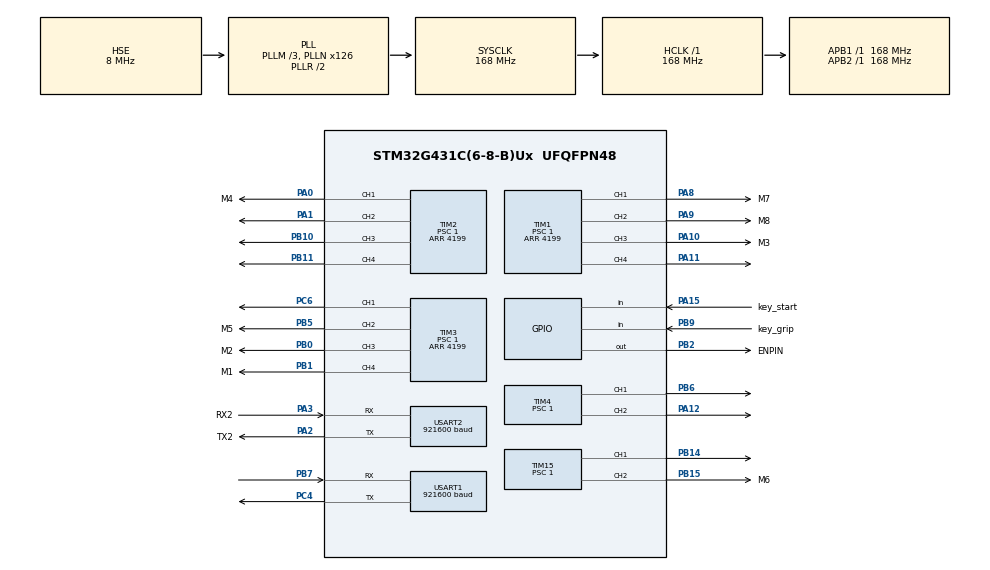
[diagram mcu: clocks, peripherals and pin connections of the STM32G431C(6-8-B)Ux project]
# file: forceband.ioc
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Dma.Request0=USART1_RX
Dma.Request1=USART1_TX
Dma.Request2=USART2_RX
Dma.USART1_RX.0.Direction=DMA_PERIPH_TO_MEMORY
Dma.USART1_RX.0.EventEnable=DISABLE
Dma.USART1_RX.0.Instance=DMA1_Channel1
Dma.USART1_RX.0.MemDataAlignment=DMA_MDATAALIGN_BYTE
Dma.USART1_RX.0.MemInc=DMA_MINC_ENABLE
Dma.USART1_RX.0.Mode=DMA_NORMAL
Dma.USART1_RX.0.PeriphDataAlignment=DMA_PDATAALIGN_BYTE
Dma.USART1_RX.0.PeriphInc=DMA_PINC_DISABLE
Dma.USART1_RX.0.Polarity=HAL_DMAMUX_REQ_GEN_RISING
Dma.USART1_RX.0.Priority=DMA_PRIORITY_LOW
Dma.USART1_RX.0.RequestNumber=1
Dma.USART1_RX.0.SignalID=NONE
Dma.USART1_RX.0.SyncEnable=DISABLE
Dma.USART1_RX.0.SyncPolarity=HAL_DMAMUX_SYNC_NO_EVENT
Dma.USART1_RX.0.SyncRequestNumber=1
Dma.USART1_RX.0.SyncSignalID=NONE
Dma.USART1_TX.1.Direction=DMA_MEMORY_TO_PERIPH
Dma.USART1_TX.1.EventEnable=DISABLE
Dma.USART1_TX.1.Instance=DMA1_Channel3
Dma.USART1_TX.1.MemDataAlignment=DMA_MDATAALIGN_BYTE
Dma.USART1_TX.1.MemInc=DMA_MINC_ENABLE
Dma.USART1_TX.1.Mode=DMA_NORMAL
Dma.USART1_TX.1.PeriphDataAlignment=DMA_PDATAALIGN_BYTE
Dma.USART1_TX.1.PeriphInc=DMA_PINC_DISABLE
Dma.USART1_TX.1.Polarity=HAL_DMAMUX_REQ_GEN_RISING
Dma.USART1_TX.1.Priority=DMA_PRIORITY_LOW
Dma.USART1_TX.1.RequestNumber=1
Dma.USART1_TX.1.SignalID=NONE
Dma.USART1_TX.1.SyncEnable=DISABLE
Dma.USART1_TX.1.SyncPolarity=HAL_DMAMUX_SYNC_NO_EVENT
Dma.USART1_TX.1.SyncRequestNumber=1
Dma.USART1_TX.1.SyncSignalID=NONE
Dma.USART2_RX.2.Direction=DMA_PERIPH_TO_MEMORY
Dma.USART2_RX.2.EventEnable=DISABLE
Dma.USART2_RX.2.Instance=DMA1_Channel2
Dma.USART2_RX.2.MemDataAlignment=DMA_MDATAALIGN_BYTE
Dma.USART2_RX.2.MemInc=DMA_MINC_ENABLE
Dma.USART2_RX.2.Mode=DMA_NORMAL
Dma.USART2_RX.2.PeriphDataAlignment=DMA_PDATAALIGN_BYTE
Dma.USART2_RX.2.PeriphInc=DMA_PINC_DISABLE
Dma.USART2_RX.2.Polarity=HAL_DMAMUX_REQ_GEN_RISING
Dma.USART2_RX.2.Priority=DMA_PRIORITY_LOW
Dma.USART2_RX.2.RequestNumber=1
Dma.USART2_RX.2.SignalID=NONE
Dma.USART2_RX.2.SyncEnable=DISABLE
Dma.USART2_RX.2.SyncPolarity=HAL_DMAMUX_SYNC_NO_EVENT
Dma.USART2_RX.2.SyncRequestNumber=1
Dma.USART2_RX.2.SyncSignalID=NONE
FREERTOS.INCLUDE_vTaskDelayUntil=1
FREERTOS.Tasks01=defaultTask,0,128,StartDefaultTask,Default,NULL,Dynamic,NULL,NULL
Mcu.Family=STM32G4
Mcu.Name=STM32G431C(6-8-B)Ux
Mcu.Package=UFQFPN48
NVIC.DMA1_Channel1_IRQn=true\:5\:0\:false\:false\:true\:true\:false\:true\:true
NVIC.DMA1_Channel2_IRQn=true\:5\:0\:false\:false\:true\:true\:false\:true\:true
NVIC.DMA1_Channel3_IRQn=true\:5\:0\:false\:false\:true\:true\:false\:true\:true
NVIC.PriorityGroup=NVIC_PRIORITYGROUP_4
NVIC.TIM7_IRQn=true\:15\:0\:false\:false\:true\:false\:false\:true\:true
NVIC.TimeBase=TIM7_IRQn
NVIC.TimeBaseIP=TIM7
NVIC.USART1_IRQn=true\:5\:0\:false\:false\:true\:true\:true\:true\:true
NVIC.USART2_IRQn=true\:5\:0\:true\:false\:true\:true\:true\:true\:true
PA0.GPIO_Label=M4
PA0.Signal=S_TIM2_CH1
PA1.Signal=S_TIM2_CH2
PA10.GPIO_Label=M3
PA10.Signal=S_TIM1_CH3
PA11.Signal=S_TIM1_CH4
PA12.Signal=S_TIM4_CH2
PA13.Mode=Serial_Wire
PA13.Signal=SYS_JTMS-SWDIO
PA14.Mode=Serial_Wire
PA14.Signal=SYS_JTCK-SWCLK
PA15.GPIO_Label=key_start
PA15.GPIO_PuPd=GPIO_PULLUP
PA15.Signal=GPIO_Input
PA2.GPIO_Label=TX2
PA2.GPIO_ModeDefaultPP=GPIO_MODE_AF_PP
PA2.Mode=Asynchronous
PA2.Signal=USART2_TX
PA3.GPIO_Label=RX2
PA3.GPIO_ModeDefaultPP=GPIO_MODE_AF_PP
PA3.Mode=Asynchronous
PA3.Signal=USART2_RX
PA8.GPIO_Label=M7
PA8.Signal=S_TIM1_CH1
PA9.GPIO_Label=M8
PA9.Signal=S_TIM1_CH2
PB0.GPIO_Label=M2
PB0.Signal=S_TIM3_CH3
PB1.GPIO_Label=M1
PB1.Signal=S_TIM3_CH4
PB10.Signal=S_TIM2_CH3
PB11.Signal=S_TIM2_CH4
PB14.Signal=S_TIM15_CH1
PB15.GPIO_Label=M6
PB15.Signal=S_TIM15_CH2
PB2.GPIO_Label=ENPIN
PB2.PinState=GPIO_PIN_SET
PB2.Signal=GPIO_Output
PB5.GPIO_Label=M5
PB5.Signal=S_TIM3_CH2
PB6.Signal=S_TIM4_CH1
PB7.Mode=Asynchronous
PB7.Signal=USART1_RX
PB9.GPIO_Label=key_grip
PB9.GPIO_PuPd=GPIO_PULLUP
PB9.Signal=GPIO_Input
PC4.Mode=Asynchronous
PC4.Signal=USART1_TX
PC6.Signal=S_TIM3_CH1
PF0-OSC_IN.Mode=HSE-External-Oscillator
PF0-OSC_IN.Signal=RCC_OSC_IN
PF1-OSC_OUT.Mode=HSE-External-Oscillator
PF1-OSC_OUT.Signal=RCC_OSC_OUT
ProjectManager.HeapSize=0x200
ProjectManager.StackSize=0x400
ProjectManager.TargetToolchain=MDK-ARM V5.27
RCC.ADC12Freq_Value=168000000
RCC.AHBFreq_Value=168000000
RCC.APB1Freq_Value=168000000
RCC.APB1TimFreq_Value=168000000
RCC.APB2Freq_Value=168000000
RCC.APB2TimFreq_Value=168000000
RCC.CortexFreq_Value=168000000
RCC.EXTERNAL_CLOCK_VALUE=12288000
RCC.HCLKFreq_Value=168000000
RCC.HSE_VALUE=8000000
RCC.HSI48_VALUE=48000000
RCC.HSI_VALUE=16000000
RCC.LSE_VALUE=32768
RCC.PLLM=RCC_PLLM_DIV3
RCC.PLLN=126
RCC.PLLSourceVirtual=RCC_PLLSOURCE_HSE
RCC.SYSCLKFreq_VALUE=168000000
RCC.SYSCLKSource=RCC_SYSCLKSOURCE_PLLCLK
RCC.USBFreq_Value=168000000
RCC.VCOOutputFreq_Value=336000000
SH.S_TIM15_CH1.0=TIM15_CH1,PWM Generation1 CH1
SH.S_TIM15_CH2.0=TIM15_CH2,PWM Generation2 CH2
SH.S_TIM1_CH1.0=TIM1_CH1,PWM Generation1 CH1
SH.S_TIM1_CH2.0=TIM1_CH2,PWM Generation2 CH2
SH.S_TIM1_CH3.0=TIM1_CH3,PWM Generation3 CH3
SH.S_TIM1_CH4.0=TIM1_CH4,PWM Generation4 CH4
SH.S_TIM2_CH1.0=TIM2_CH1,PWM Generation1 CH1
SH.S_TIM2_CH2.0=TIM2_CH2,PWM Generation2 CH2
SH.S_TIM2_CH3.0=TIM2_CH3,PWM Generation3 CH3
SH.S_TIM2_CH4.0=TIM2_CH4,PWM Generation4 CH4
SH.S_TIM3_CH1.0=TIM3_CH1,PWM Generation1 CH1
SH.S_TIM3_CH2.0=TIM3_CH2,PWM Generation2 CH2
SH.S_TIM3_CH3.0=TIM3_CH3,PWM Generation3 CH3
SH.S_TIM3_CH4.0=TIM3_CH4,PWM Generation4 CH4
SH.S_TIM4_CH1.0=TIM4_CH1,PWM Generation1 CH1
SH.S_TIM4_CH2.0=TIM4_CH2,PWM Generation2 CH2
TIM1.Channel-PWM\ Generation1\ CH1=TIM_CHANNEL_1
TIM1.Channel-PWM\ Generation2\ CH2=TIM_CHANNEL_2
TIM1.Channel-PWM\ Generation3\ CH3=TIM_CHANNEL_3
TIM1.Channel-PWM\ Generation4\ CH4=TIM_CHANNEL_4
TIM1.PeriodNoDither=4199
TIM1.Prescaler=1
TIM15.Channel-PWM\ Generation1\ CH1=TIM_CHANNEL_1
TIM15.Channel-PWM\ Generation2\ CH2=TIM_CHANNEL_2
TIM15.PeriodNoDither=4199
TIM15.Prescaler=1
TIM2.Channel-PWM\ Generation1\ CH1=TIM_CHANNEL_1
TIM2.Channel-PWM\ Generation2\ CH2=TIM_CHANNEL_2
TIM2.Channel-PWM\ Generation3\ CH3=TIM_CHANNEL_3
TIM2.Channel-PWM\ Generation4\ CH4=TIM_CHANNEL_4
TIM2.PeriodNoDither=4199
TIM2.Prescaler=1
TIM3.Channel-PWM\ Generation1\ CH1=TIM_CHANNEL_1
TIM3.Channel-PWM\ Generation2\ CH2=TIM_CHANNEL_2
TIM3.Channel-PWM\ Generation3\ CH3=TIM_CHANNEL_3
TIM3.Channel-PWM\ Generation4\ CH4=TIM_CHANNEL_4
TIM3.PeriodNoDither=4199
TIM3.Prescaler=1
TIM4.Channel-PWM\ Generation1\ CH1=TIM_CHANNEL_1
TIM4.Channel-PWM\ Generation2\ CH2=TIM_CHANNEL_2
TIM4.PeriodNoDither=4199
TIM4.Prescaler=1
USART1.BaudRate=921600
USART1.VirtualMode-Asynchronous=VM_ASYNC
USART2.BaudRate=921600
USART2.FIFOMode=FIFOMODE_DISABLE
USART2.VirtualMode-Asynchronous=VM_ASYNC
VP_FREERTOS_VS_CMSIS_V1.Mode=CMSIS_V1
VP_SYS_VS_DBSignals.Mode=DisableDeadBatterySignals
VP_SYS_VS_tim7.Mode=TIM7
board=custom

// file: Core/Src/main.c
/* USER CODE BEGIN Header */
/**
  ******************************************************************************
  * @file           : main.c
  * @brief          : Main program body
  ******************************************************************************
  * @attention
  *
  * Copyright (c) 2023 STMicroelectronics.
  * All rights reserved.
  *
  * This software is licensed under terms that can be found in the LICENSE file
  * in the root directory of this software component.
  * If no LICENSE file comes with this software, it is provided AS-IS.
  *
  ******************************************************************************
  */
/* USER CODE END Header */
#include "main.h"
#include "cmsis_os.h"
#include "dma.h"
#include "tim.h"
#include "usart.h"
#include "gpio.h"

void SystemClock_Config(void);
void MX_FREERTOS_Init(void);

int main(void)
{

  /* MCU Configuration--------------------------------------------------------*/

  /* Reset of all peripherals, Initializes the Flash interface and the Systick. */
  HAL_Init();

  /* USER CODE BEGIN Init */
// 2200-2700  2700-3100 3100-4000

  /* USER CODE END Init */

  /* Configure the system clock */
  SystemClock_Config();

  /* Initialize all configured peripherals */
  MX_GPIO_Init();
  MX_DMA_Init();
  MX_TIM1_Init();
  MX_TIM2_Init();
  MX_TIM3_Init();
  MX_TIM15_Init();
  MX_USART2_UART_Init();
  MX_USART1_UART_Init();
  MX_TIM4_Init();

  /* Call init function for freertos objects (in freertos.c) */
  MX_FREERTOS_Init();

  /* Start scheduler */
  osKernelStart();

  /* We should never get here as control is now taken by the scheduler */
  /* Infinite loop */
  while (1)
  {

  }
}

void SystemClock_Config(void)
{
  RCC_OscInitTypeDef RCC_OscInitStruct = {0};
  RCC_ClkInitTypeDef RCC_ClkInitStruct = {0};

  /** Configure the main internal regulator output voltage
  */
  HAL_PWREx_ControlVoltageScaling(PWR_REGULATOR_VOLTAGE_SCALE1_BOOST);

  /** Initializes the RCC Oscillators according to the specified parameters
  * in the RCC_OscInitTypeDef structure.
  */
  RCC_OscInitStruct.OscillatorType = RCC_OSCILLATORTYPE_HSE;
  RCC_OscInitStruct.HSEState = RCC_HSE_ON;
  RCC_OscInitStruct.PLL.PLLState = RCC_PLL_ON;
  RCC_OscInitStruct.PLL.PLLSource = RCC_PLLSOURCE_HSE;
  RCC_OscInitStruct.PLL.PLLM = RCC_PLLM_DIV3;
  RCC_OscInitStruct.PLL.PLLN = 126;
  RCC_OscInitStruct.PLL.PLLP = RCC_PLLP_DIV2;
  RCC_OscInitStruct.PLL.PLLQ = RCC_PLLQ_DIV2;
  RCC_OscInitStruct.PLL.PLLR = RCC_PLLR_DIV2;
  if (HAL_RCC_OscConfig(&RCC_OscInitStruct) != HAL_OK)
  {
    Error_Handler();
  }

  /** Initializes the CPU, AHB and APB buses clocks
  */
  RCC_ClkInitStruct.ClockType = RCC_CLOCKTYPE_HCLK|RCC_CLOCKTYPE_SYSCLK
                              |RCC_CLOCKTYPE_PCLK1|RCC_CLOCKTYPE_PCLK2;
  RCC_ClkInitStruct.SYSCLKSource = RCC_SYSCLKSOURCE_PLLCLK;
  RCC_ClkInitStruct.AHBCLKDivider = RCC_SYSCLK_DIV1;
  RCC_ClkInitStruct.APB1CLKDivider = RCC_HCLK_DIV1;
  RCC_ClkInitStruct.APB2CLKDivider = RCC_HCLK_DIV1;

  if (HAL_RCC_ClockConfig(&RCC_ClkInitStruct, FLASH_LATENCY_4) != HAL_OK)
  {
    Error_Handler();
  }
}

/* USER CODE BEGIN 4 */
uint16_t mapFloatToUInt16(float input) {
    if (input < 0.0f) {
        return 2000;
    } else if (input > 10.0f) {
        return 4199;
    }
    return (uint16_t)(((uint32_t)input * (4199.0f - 2000.0f) / 10.0f) + 2000.0f);
}
void cal_pulse_interpolated(int force, int theta){
	//1- get theta
	//2- classify
	//3- calpulse
	if(0<= theta && theta < 45)
		pulse_1(force, theta);
	else if(45<= theta && theta < 90)
		pulse_2(force, theta);
	else if(90<= theta && theta < 135)
		pulse_3(force, theta);
	else if(135<= theta && theta < 180)
		pulse_4(force, theta);
	else if(180<= theta && theta < 225)
		pulse_5(force, theta);
	else if(225<= theta && theta < 270)
		pulse_6(force, theta);
	else if(270<= theta && theta < 315)
		pulse_7(force, theta);
	else // 315< theta < 360
		pulse_8(force, theta);
}
void pulse_1(int force, int theta){
//	__HAL_TIM_SET_COMPARE(&htim3, TIM_CHANNEL_4, 0);//1
//	__HAL_TIM_SET_COMPARE(&htim3, TIM_CHANNEL_3, 0);//2
	__HAL_TIM_SET_COMPARE(&htim1, TIM_CHANNEL_3, 0);//3
	__HAL_TIM_SET_COMPARE(&htim2, TIM_CHANNEL_1, 0);//4
	__HAL_TIM_SET_COMPARE(&htim3, TIM_CHANNEL_2, 0);//5
	__HAL_TIM_SET_COMPARE(&htim15, TIM_CHANNEL_2, 0);//6
	__HAL_TIM_SET_COMPARE(&htim1, TIM_CHANNEL_1, 0);//7
	__HAL_TIM_SET_COMPARE(&htim1, TIM_CHANNEL_2, 0);//8

	uint16_t _compare_1;
	uint16_t _compare_2;
	float f_diag = (float)force * sin(ang2rad(theta)) / 0.707;
	float f_orth = (float)force * cos(ang2rad(theta)) - f_diag * 0.707;
	_compare_1 = mapFloatToUInt16(f_diag);
	_compare_2 = mapFloatToUInt16(f_orth);
	__HAL_TIM_SET_COMPARE(&htim3, TIM_CHANNEL_4, _compare_2);//1
	__HAL_TIM_SET_COMPARE(&htim3, TIM_CHANNEL_3, _compare_1);//2
}
void pulse_2(int force, int theta){
	__HAL_TIM_SET_COMPARE(&htim3, TIM_CHANNEL_4, 0);//1
//	__HAL_TIM_SET_COMPARE(&htim3, TIM_CHANNEL_3, 0);//2
//	__HAL_TIM_SET_COMPARE(&htim1, TIM_CHANNEL_3, 0);//3
	__HAL_TIM_SET_COMPARE(&htim2, TIM_CHANNEL_1, 0);//4
	__HAL_TIM_SET_COMPARE(&htim3, TIM_CHANNEL_2, 0);//5
	__HAL_TIM_SET_COMPARE(&htim15, TIM_CHANNEL_2, 0);//6
	__HAL_TIM_SET_COMPARE(&htim1, TIM_CHANNEL_1, 0);//7
	__HAL_TIM_SET_COMPARE(&htim1, TIM_CHANNEL_2, 0);//8

	uint16_t _compare_1;
	uint16_t _compare_2;
	float f_diag = (float)force * cos(ang2rad(theta)) / 0.707;
	float f_orth = (float)force * sin(ang2rad(theta)) - f_diag * 0.707;
	_compare_1 = mapFloatToUInt16(f_diag);
	_compare_2 = mapFloatToUInt16(f_orth);
	__HAL_TIM_SET_COMPARE(&htim3, TIM_CHANNEL_3, _compare_1);//2
	__HAL_TIM_SET_COMPARE(&htim1, TIM_CHANNEL_3, _compare_2);//3
}
void pulse_3(int force, int theta){
	__HAL_TIM_SET_COMPARE(&htim3, TIM_CHANNEL_4, 0);//1
	__HAL_TIM_SET_COMPARE(&htim3, TIM_CHANNEL_3, 0);//2
//	__HAL_TIM_SET_COMPARE(&htim1, TIM_CHANNEL_3, 0);//3
//	__HAL_TIM_SET_COMPARE(&htim2, TIM_CHANNEL_1, 0);//4
	__HAL_TIM_SET_COMPARE(&htim3, TIM_CHANNEL_2, 0);//5
	__HAL_TIM_SET_COMPARE(&htim15, TIM_CHANNEL_2, 0);//6
	__HAL_TIM_SET_COMPARE(&htim1, TIM_CHANNEL_1, 0);//7
	__HAL_TIM_SET_COMPARE(&htim1, TIM_CHANNEL_2, 0);//8

	uint16_t _compare_1;
	uint16_t _compare_2;
	float f_diag = -(float)force * cos(ang2rad(theta)) / 0.707;
	float f_orth = (float)force * sin(ang2rad(theta)) - f_diag * 0.707;
	_compare_1 = mapFloatToUInt16(f_diag);
	_compare_2 = mapFloatToUInt16(f_orth);
	__HAL_TIM_SET_COMPARE(&htim1, TIM_CHANNEL_3, _compare_1);//3
	__HAL_TIM_SET_COMPARE(&htim2, TIM_CHANNEL_1, _compare_2);//4
}
void pulse_4(int force, int theta){
	__HAL_TIM_SET_COMPARE(&htim3, TIM_CHANNEL_4, 0);//1
	__HAL_TIM_SET_COMPARE(&htim3, TIM_CHANNEL_3, 0);//2
	__HAL_TIM_SET_COMPARE(&htim1, TIM_CHANNEL_3, 0);//3
//	__HAL_TIM_SET_COMPARE(&htim2, TIM_CHANNEL_1, 0);//4
//	__HAL_TIM_SET_COMPARE(&htim3, TIM_CHANNEL_2, 0);//5
	__HAL_TIM_SET_COMPARE(&htim15, TIM_CHANNEL_2, 0);//6
	__HAL_TIM_SET_COMPARE(&htim1, TIM_CHANNEL_1, 0);//7
	__HAL_TIM_SET_COMPARE(&htim1, TIM_CHANNEL_2, 0);//8

	uint16_t _compare_1;
	uint16_t _compare_2;
	float f_diag = (float)force * sin(ang2rad(theta)) / 0.707;
	float f_orth = -(float)force * cos(ang2rad(theta)) - f_diag * 0.707;
	_compare_1 = mapFloatToUInt16(f_diag);
	_compare_2 = mapFloatToUInt16(f_orth);
	__HAL_TIM_SET_COMPARE(&htim2, TIM_CHANNEL_1, _compare_1);//4
	__HAL_TIM_SET_COMPARE(&htim3, TIM_CHANNEL_2, _compare_2);//5
}
void pulse_5(int force, int theta){
	__HAL_TIM_SET_COMPARE(&htim3, TIM_CHANNEL_4, 0);//1
	__HAL_TIM_SET_COMPARE(&htim3, TIM_CHANNEL_3, 0);//2
	__HAL_TIM_SET_COMPARE(&htim1, TIM_CHANNEL_3, 0);//3
	__HAL_TIM_SET_COMPARE(&htim2, TIM_CHANNEL_1, 0);//4
//	__HAL_TIM_SET_COMPARE(&htim3, TIM_CHANNEL_2, 0);//5
//	__HAL_TIM_SET_COMPARE(&htim15, TIM_CHANNEL_2, 0);//6
	__HAL_TIM_SET_COMPARE(&htim1, TIM_CHANNEL_1, 0);//7
	__HAL_TIM_SET_COMPARE(&htim1, TIM_CHANNEL_2, 0);//8

	uint16_t _compare_1;
	uint16_t _compare_2;
	float f_diag = -(float)force * sin(ang2rad(theta)) / 0.707;
	float f_orth = -(float)force * cos(ang2rad(theta)) - f_diag * 0.707;
	_compare_1 = mapFloatToUInt16(f_diag);
	_compare_2 = mapFloatToUInt16(f_orth);
	__HAL_TIM_SET_COMPARE(&htim3, TIM_CHANNEL_2, _compare_1);//5
	__HAL_TIM_SET_COMPARE(&htim15, TIM_CHANNEL_2, _compare_2);//6
}
void pulse_6(int force, int theta){
	__HAL_TIM_SET_COMPARE(&htim3, TIM_CHANNEL_4, 0);//1
	__HAL_TIM_SET_COMPARE(&htim3, TIM_CHANNEL_3, 0);//2
	__HAL_TIM_SET_COMPARE(&htim1, TIM_CHANNEL_3, 0);//3
	__HAL_TIM_SET_COMPARE(&htim2, TIM_CHANNEL_1, 0);//4
	__HAL_TIM_SET_COMPARE(&htim3, TIM_CHANNEL_2, 0);//5
//	__HAL_TIM_SET_COMPARE(&htim15, TIM_CHANNEL_2, 0);//6
//	__HAL_TIM_SET_COMPARE(&htim1, TIM_CHANNEL_1, 0);//7
	__HAL_TIM_SET_COMPARE(&htim1, TIM_CHANNEL_2, 0);//8

	uint16_t _compare_1;
	uint16_t _compare_2;
	float f_diag = -(float)force * cos(ang2rad(theta)) / 0.707;
	float f_orth = -(float)force * sin(ang2rad(theta)) - f_diag * 0.707;
	_compare_1 = mapFloatToUInt16(f_diag);
	_compare_2 = mapFloatToUInt16(f_orth);
	__HAL_TIM_SET_COMPARE(&htim15, TIM_CHANNEL_2, _compare_1);//6
	__HAL_TIM_SET_COMPARE(&htim1, TIM_CHANNEL_1, _compare_2);//7
}
void pulse_7(int force, int theta){
	__HAL_TIM_SET_COMPARE(&htim3, TIM_CHANNEL_4, 0);//1
	__HAL_TIM_SET_COMPARE(&htim3, TIM_CHANNEL_3, 0);//2
	__HAL_TIM_SET_COMPARE(&htim1, TIM_CHANNEL_3, 0);//3
	__HAL_TIM_SET_COMPARE(&htim2, TIM_CHANNEL_1, 0);//4
	__HAL_TIM_SET_COMPARE(&htim3, TIM_CHANNEL_2, 0);//5
	__HAL_TIM_SET_COMPARE(&htim15, TIM_CHANNEL_2, 0);//6
//	__HAL_TIM_SET_COMPARE(&htim1, TIM_CHANNEL_1, 0);//7
//	__HAL_TIM_SET_COMPARE(&htim1, TIM_CHANNEL_2, 0);//8

	uint16_t _compare_1;
	uint16_t _compare_2;
	float f_diag = (float)force * cos(ang2rad(theta)) / 0.707;
	float f_orth = -(float)force * sin(ang2rad(theta)) - f_diag * 0.707;
	_compare_1 = mapFloatToUInt16(f_diag);
	_compare_2 = mapFloatToUInt16(f_orth);
	__HAL_TIM_SET_COMPARE(&htim1, TIM_CHANNEL_1, _compare_1);//7
	__HAL_TIM_SET_COMPARE(&htim1, TIM_CHANNEL_2, _compare_2);//8

}
void pulse_8(int force, int theta){
//	__HAL_TIM_SET_COMPARE(&htim3, TIM_CHANNEL_4, 0);//1
	__HAL_TIM_SET_COMPARE(&htim3, TIM_CHANNEL_3, 0);//2
	__HAL_TIM_SET_COMPARE(&htim1, TIM_CHANNEL_3, 0);//3
	__HAL_TIM_SET_COMPARE(&htim2, TIM_CHANNEL_1, 0);//4
	__HAL_TIM_SET_COMPARE(&htim3, TIM_CHANNEL_2, 0);//5
	__HAL_TIM_SET_COMPARE(&htim15, TIM_CHANNEL_2, 0);//6
	__HAL_TIM_SET_COMPARE(&htim1, TIM_CHANNEL_1, 0);//7
//	__HAL_TIM_SET_COMPARE(&htim1, TIM_CHANNEL_2, 0);//8

	uint16_t _compare_1;
	uint16_t _compare_2;
	float f_diag = -(float)force * sin(ang2rad(theta)) / 0.707;
	float f_orth = (float)force * cos(ang2rad(theta)) - f_diag * 0.707;
	_compare_1 = mapFloatToUInt16(f_diag);
	_compare_2 = mapFloatToUInt16(f_orth);
	__HAL_TIM_SET_COMPARE(&htim1, TIM_CHANNEL_2, _compare_1);//8
	__HAL_TIM_SET_COMPARE(&htim3, TIM_CHANNEL_4, _compare_2);//1
}

void cal_pulse_single(float force, float theta) {
    if (theta < 0.0f || theta > 360.0f) {
        printf("Error: Invalid theta value\n");
        return;
    }
    int motorNumber = (int)((((int)theta ) / 30) % 12 + 1);
	any_pulse(force, motorNumber);
}

void any_pulse(float force, int num){
	uint16_t _compare;
	_compare = mapFloatToUInt16(force);
	if (num < 0 || num > 12) {
        // ������Ч�� num ֵ
        printf("Error: Invalid motor number\n");
        return;
    }
	switch (num){
		case 6:
			__HAL_TIM_SET_COMPARE(&htim3, TIM_CHANNEL_4, _compare);//1

//			__HAL_TIM_SET_COMPARE(&htim3, TIM_CHANNEL_4, 0);//1
			__HAL_TIM_SET_COMPARE(&htim3, TIM_CHANNEL_3, 0);//2
			__HAL_TIM_SET_COMPARE(&htim1, TIM_CHANNEL_3, 0);//3
			__HAL_TIM_SET_COMPARE(&htim15, TIM_CHANNEL_2, 0);//4
			__HAL_TIM_SET_COMPARE(&htim1, TIM_CHANNEL_1, 0);//5
			__HAL_TIM_SET_COMPARE(&htim1, TIM_CHANNEL_2, 0);//6

			__HAL_TIM_SET_COMPARE(&htim4, TIM_CHANNEL_1, 0);//7
			__HAL_TIM_SET_COMPARE(&htim3, TIM_CHANNEL_1, 0);//8
			__HAL_TIM_SET_COMPARE(&htim1, TIM_CHANNEL_4, 0);//9
			__HAL_TIM_SET_COMPARE(&htim2, TIM_CHANNEL_3, 0);//10
			__HAL_TIM_SET_COMPARE(&htim2, TIM_CHANNEL_4, 0);//11
			__HAL_TIM_SET_COMPARE(&htim2, TIM_CHANNEL_2, 0);//12

			break;
		case 5:
			__HAL_TIM_SET_COMPARE(&htim3, TIM_CHANNEL_3, _compare);//2

			__HAL_TIM_SET_COMPARE(&htim3, TIM_CHANNEL_4, 0);//1
//			__HAL_TIM_SET_COMPARE(&htim3, TIM_CHANNEL_3, 0);//2
			__HAL_TIM_SET_COMPARE(&htim1, TIM_CHANNEL_3, 0);//3
			__HAL_TIM_SET_COMPARE(&htim15, TIM_CHANNEL_2, 0);//4
			__HAL_TIM_SET_COMPARE(&htim1, TIM_CHANNEL_1, 0);//5
			__HAL_TIM_SET_COMPARE(&htim1, TIM_CHANNEL_2, 0);//6

			__HAL_TIM_SET_COMPARE(&htim4, TIM_CHANNEL_1, 0);//7
			__HAL_TIM_SET_COMPARE(&htim3, TIM_CHANNEL_1, 0);//8
			__HAL_TIM_SET_COMPARE(&htim1, TIM_CHANNEL_4, 0);//9
			__HAL_TIM_SET_COMPARE(&htim2, TIM_CHANNEL_3, 0);//10
			__HAL_TIM_SET_COMPARE(&htim2, TIM_CHANNEL_4, 0);//11
			__HAL_TIM_SET_COMPARE(&htim2, TIM_CHANNEL_2, 0);//12
			break;
		case 4:
			__HAL_TIM_SET_COMPARE(&htim1, TIM_CHANNEL_3, _compare);//3

			__HAL_TIM_SET_COMPARE(&htim3, TIM_CHANNEL_4, 0);//1
			__HAL_TIM_SET_COMPARE(&htim3, TIM_CHANNEL_3, 0);//2
//			__HAL_TIM_SET_COMPARE(&htim1, TIM_CHANNEL_3, 0);//3
			__HAL_TIM_SET_COMPARE(&htim15, TIM_CHANNEL_2, 0);//4
			__HAL_TIM_SET_COMPARE(&htim1, TIM_CHANNEL_1, 0);//5
			__HAL_TIM_SET_COMPARE(&htim1, TIM_CHANNEL_2, 0);//6

			__HAL_TIM_SET_COMPARE(&htim4, TIM_CHANNEL_1, 0);//7
			__HAL_TIM_SET_COMPARE(&htim3, TIM_CHANNEL_1, 0);//8
			__HAL_TIM_SET_COMPARE(&htim1, TIM_CHANNEL_4, 0);//9
			__HAL_TIM_SET_COMPARE(&htim2, TIM_CHANNEL_3, 0);//10
			__HAL_TIM_SET_COMPARE(&htim2, TIM_CHANNEL_4, 0);//11
			__HAL_TIM_SET_COMPARE(&htim2, TIM_CHANNEL_2, 0);//12
			break;
		case 3:
			__HAL_TIM_SET_COMPARE(&htim15, TIM_CHANNEL_2, _compare);//4

			__HAL_TIM_SET_COMPARE(&htim3, TIM_CHANNEL_4, 0);//1
			__HAL_TIM_SET_COMPARE(&htim3, TIM_CHANNEL_3, 0);//2
			__HAL_TIM_SET_COMPARE(&htim1, TIM_CHANNEL_3, 0);//3
//			__HAL_TIM_SET_COMPARE(&htim15, TIM_CHANNEL_2, 0);//4
			__HAL_TIM_SET_COMPARE(&htim1, TIM_CHANNEL_1, 0);//5
			__HAL_TIM_SET_COMPARE(&htim1, TIM_CHANNEL_2, 0);//6

			__HAL_TIM_SET_COMPARE(&htim4, TIM_CHANNEL_1, 0);//7
			__HAL_TIM_SET_COMPARE(&htim3, TIM_CHANNEL_1, 0);//8
			__HAL_TIM_SET_COMPARE(&htim1, TIM_CHANNEL_4, 0);//9
			__HAL_TIM_SET_COMPARE(&htim2, TIM_CHANNEL_3, 0);//10
			__HAL_TIM_SET_COMPARE(&htim2, TIM_CHANNEL_4, 0);//11
			__HAL_TIM_SET_COMPARE(&htim2, TIM_CHANNEL_2, 0);//12
			break;
		case 2:
			__HAL_TIM_SET_COMPARE(&htim1, TIM_CHANNEL_1, _compare);//5

			__HAL_TIM_SET_COMPARE(&htim3, TIM_CHANNEL_4, 0);//1
			__HAL_TIM_SET_COMPARE(&htim3, TIM_CHANNEL_3, 0);//2
			__HAL_TIM_SET_COMPARE(&htim1, TIM_CHANNEL_3, 0);//3
			__HAL_TIM_SET_COMPARE(&htim15, TIM_CHANNEL_2, 0);//4
//			__HAL_TIM_SET_COMPARE(&htim1, TIM_CHANNEL_1, 0);//5
			__HAL_TIM_SET_COMPARE(&htim1, TIM_CHANNEL_2, 0);//6

			__HAL_TIM_SET_COMPARE(&htim4, TIM_CHANNEL_1, 0);//7
			__HAL_TIM_SET_COMPARE(&htim3, TIM_CHANNEL_1, 0);//8
			__HAL_TIM_SET_COMPARE(&htim1, TIM_CHANNEL_4, 0);//9
			__HAL_TIM_SET_COMPARE(&htim2, TIM_CHANNEL_3, 0);//10
			__HAL_TIM_SET_COMPARE(&htim2, TIM_CHANNEL_4, 0);//11
			__HAL_TIM_SET_COMPARE(&htim2, TIM_CHANNEL_2, 0);//12
			break;
		case 1:
			__HAL_TIM_SET_COMPARE(&htim1, TIM_CHANNEL_2, _compare);//6

			__HAL_TIM_SET_COMPARE(&htim3, TIM_CHANNEL_4, 0);//1
			__HAL_TIM_SET_COMPARE(&htim3, TIM_CHANNEL_3, 0);//2
			__HAL_TIM_SET_COMPARE(&htim1, TIM_CHANNEL_3, 0);//3
			__HAL_TIM_SET_COMPARE(&htim15, TIM_CHANNEL_2, 0);//4
			__HAL_TIM_SET_COMPARE(&htim1, TIM_CHANNEL_1, 0);//5
//			__HAL_TIM_SET_COMPARE(&htim1, TIM_CHANNEL_2, 0);//6

			__HAL_TIM_SET_COMPARE(&htim4, TIM_CHANNEL_1, 0);//7
			__HAL_TIM_SET_COMPARE(&htim3, TIM_CHANNEL_1, 0);//8
			__HAL_TIM_SET_COMPARE(&htim1, TIM_CHANNEL_4, 0);//9
			__HAL_TIM_SET_COMPARE(&htim2, TIM_CHANNEL_3, 0);//10
			__HAL_TIM_SET_COMPARE(&htim2, TIM_CHANNEL_4, 0);//11
			__HAL_TIM_SET_COMPARE(&htim2, TIM_CHANNEL_2, 0);//12
			break;
		case 12:
			__HAL_TIM_SET_COMPARE(&htim4, TIM_CHANNEL_1, _compare);//7
			__HAL_TIM_SET_COMPARE(&htim3, TIM_CHANNEL_4, 0);//1
			__HAL_TIM_SET_COMPARE(&htim3, TIM_CHANNEL_3, 0);//2
			__HAL_TIM_SET_COMPARE(&htim1, TIM_CHANNEL_3, 0);//3
			__HAL_TIM_SET_COMPARE(&htim15, TIM_CHANNEL_2, 0);//4
			__HAL_TIM_SET_COMPARE(&htim1, TIM_CHANNEL_1, 0);//5
			__HAL_TIM_SET_COMPARE(&htim1, TIM_CHANNEL_2, 0);//6

//			__HAL_TIM_SET_COMPARE(&htim4, TIM_CHANNEL_1, 0);//7
			__HAL_TIM_SET_COMPARE(&htim3, TIM_CHANNEL_1, 0);//8
			__HAL_TIM_SET_COMPARE(&htim1, TIM_CHANNEL_4, 0);//9
			__HAL_TIM_SET_COMPARE(&htim2, TIM_CHANNEL_3, 0);//10
			__HAL_TIM_SET_COMPARE(&htim2, TIM_CHANNEL_4, 0);//11
			__HAL_TIM_SET_COMPARE(&htim2, TIM_CHANNEL_2, 0);//12
			break;
		case 11:
			__HAL_TIM_SET_COMPARE(&htim3, TIM_CHANNEL_1, _compare);//8
			__HAL_TIM_SET_COMPARE(&htim3, TIM_CHANNEL_4, 0);//1
			__HAL_TIM_SET_COMPARE(&htim3, TIM_CHANNEL_3, 0);//2
			__HAL_TIM_SET_COMPARE(&htim1, TIM_CHANNEL_3, 0);//3
			__HAL_TIM_SET_COMPARE(&htim15, TIM_CHANNEL_2, 0);//4
			__HAL_TIM_SET_COMPARE(&htim1, TIM_CHANNEL_1, 0);//5
			__HAL_TIM_SET_COMPARE(&htim1, TIM_CHANNEL_2, 0);//6

			__HAL_TIM_SET_COMPARE(&htim4, TIM_CHANNEL_1, 0);//7
//			__HAL_TIM_SET_COMPARE(&htim3, TIM_CHANNEL_1, 0);//8
			__HAL_TIM_SET_COMPARE(&htim1, TIM_CHANNEL_4, 0);//9
			__HAL_TIM_SET_COMPARE(&htim2, TIM_CHANNEL_3, 0);//10
			__HAL_TIM_SET_COMPARE(&htim2, TIM_CHANNEL_4, 0);//11
			__HAL_TIM_SET_COMPARE(&htim2, TIM_CHANNEL_2, 0);//12
			break;
		case 10:
			__HAL_TIM_SET_COMPARE(&htim1, TIM_CHANNEL_4, _compare);//9
			__HAL_TIM_SET_COMPARE(&htim3, TIM_CHANNEL_4, 0);//1
			__HAL_TIM_SET_COMPARE(&htim3, TIM_CHANNEL_3, 0);//2
			__HAL_TIM_SET_COMPARE(&htim1, TIM_CHANNEL_3, 0);//3
			__HAL_TIM_SET_COMPARE(&htim15, TIM_CHANNEL_2, 0);//4
			__HAL_TIM_SET_COMPARE(&htim1, TIM_CHANNEL_1, 0);//5
			__HAL_TIM_SET_COMPARE(&htim1, TIM_CHANNEL_2, 0);//6

			__HAL_TIM_SET_COMPARE(&htim4, TIM_CHANNEL_1, 0);//7
			__HAL_TIM_SET_COMPARE(&htim3, TIM_CHANNEL_1, 0);//8
//			__HAL_TIM_SET_COMPARE(&htim1, TIM_CHANNEL_4, 0);//9
			__HAL_TIM_SET_COMPARE(&htim2, TIM_CHANNEL_3, 0);//10
			__HAL_TIM_SET_COMPARE(&htim2, TIM_CHANNEL_4, 0);//11
			__HAL_TIM_SET_COMPARE(&htim2, TIM_CHANNEL_2, 0);//12
			break;
		case 9:
			__HAL_TIM_SET_COMPARE(&htim2, TIM_CHANNEL_3, _compare);//10
			__HAL_TIM_SET_COMPARE(&htim3, TIM_CHANNEL_4, 0);//1
			__HAL_TIM_SET_COMPARE(&htim3, TIM_CHANNEL_3, 0);//2
			__HAL_TIM_SET_COMPARE(&htim1, TIM_CHANNEL_3, 0);//3
			__HAL_TIM_SET_COMPARE(&htim15, TIM_CHANNEL_2, 0);//4
			__HAL_TIM_SET_COMPARE(&htim1, TIM_CHANNEL_1, 0);//5
			__HAL_TIM_SET_COMPARE(&htim1, TIM_CHANNEL_2, 0);//6

			__HAL_TIM_SET_COMPARE(&htim4, TIM_CHANNEL_1, 0);//7
			__HAL_TIM_SET_COMPARE(&htim3, TIM_CHANNEL_1, 0);//8
			__HAL_TIM_SET_COMPARE(&htim1, TIM_CHANNEL_4, 0);//9
//			__HAL_TIM_SET_COMPARE(&htim2, TIM_CHANNEL_3, 0);//10
			__HAL_TIM_SET_COMPARE(&htim2, TIM_CHANNEL_4, 0);//11
			__HAL_TIM_SET_COMPARE(&htim2, TIM_CHANNEL_2, 0);//12
			break;
		case 8:
			__HAL_TIM_SET_COMPARE(&htim2, TIM_CHANNEL_4, _compare);//11
			__HAL_TIM_SET_COMPARE(&htim3, TIM_CHANNEL_4, 0);//1
			__HAL_TIM_SET_COMPARE(&htim3, TIM_CHANNEL_3, 0);//2
			__HAL_TIM_SET_COMPARE(&htim1, TIM_CHANNEL_3, 0);//3
			__HAL_TIM_SET_COMPARE(&htim15, TIM_CHANNEL_2, 0);//4
			__HAL_TIM_SET_COMPARE(&htim1, TIM_CHANNEL_1, 0);//5
			__HAL_TIM_SET_COMPARE(&htim1, TIM_CHANNEL_2, 0);//6

			__HAL_TIM_SET_COMPARE(&htim4, TIM_CHANNEL_1, 0);//7
			__HAL_TIM_SET_COMPARE(&htim3, TIM_CHANNEL_1, 0);//8
			__HAL_TIM_SET_COMPARE(&htim1, TIM_CHANNEL_4, 0);//9
			__HAL_TIM_SET_COMPARE(&htim2, TIM_CHANNEL_3, 0);//10
//			__HAL_TIM_SET_COMPARE(&htim2, TIM_CHANNEL_4, 0);//11
			__HAL_TIM_SET_COMPARE(&htim2, TIM_CHANNEL_2, 0);//12
			break;
		case 7:
			__HAL_TIM_SET_COMPARE(&htim2, TIM_CHANNEL_2, _compare);//12

			__HAL_TIM_SET_COMPARE(&htim3, TIM_CHANNEL_4, 0);//1
			__HAL_TIM_SET_COMPARE(&htim3, TIM_CHANNEL_3, 0);//2
			__HAL_TIM_SET_COMPARE(&htim1, TIM_CHANNEL_3, 0);//3
			__HAL_TIM_SET_COMPARE(&htim15, TIM_CHANNEL_2, 0);//4
			__HAL_TIM_SET_COMPARE(&htim1, TIM_CHANNEL_1, 0);//5
			__HAL_TIM_SET_COMPARE(&htim1, TIM_CHANNEL_2, 0);//6

			__HAL_TIM_SET_COMPARE(&htim4, TIM_CHANNEL_1, 0);//7
			__HAL_TIM_SET_COMPARE(&htim3, TIM_CHANNEL_1, 0);//8
			__HAL_TIM_SET_COMPARE(&htim1, TIM_CHANNEL_4, 0);//9
			__HAL_TIM_SET_COMPARE(&htim2, TIM_CHANNEL_3, 0);//10
			__HAL_TIM_SET_COMPARE(&htim2, TIM_CHANNEL_4, 0);//11
//			__HAL_TIM_SET_COMPARE(&htim2, TIM_CHANNEL_2, 0);//12
			break;

	}
}
//clang
//			__HAL_TIM_SET_COMPARE(&htim3, TIM_CHANNEL_4, _compare);//1
//			__HAL_TIM_SET_COMPARE(&htim3, TIM_CHANNEL_3, _compare);//2
//			__HAL_TIM_SET_COMPARE(&htim1, TIM_CHANNEL_3, _compare);//3
//			__HAL_TIM_SET_COMPARE(&htim15, TIM_CHANNEL_2, _compare);//4
//			__HAL_TIM_SET_COMPARE(&htim1, TIM_CHANNEL_1, _compare);//5
//			__HAL_TIM_SET_COMPARE(&htim1, TIM_CHANNEL_2, _compare);//6
//			__HAL_TIM_SET_COMPARE(&htim4, TIM_CHANNEL_1, _compare);//7
//			__HAL_TIM_SET_COMPARE(&htim3, TIM_CHANNEL_1, _compare);//8
//			__HAL_TIM_SET_COMPARE(&htim1, TIM_CHANNEL_4, _compare);//9
//			__HAL_TIM_SET_COMPARE(&htim2, TIM_CHANNEL_3, _compare);//10
//			__HAL_TIM_SET_COMPARE(&htim2, TIM_CHANNEL_4, _compare);//11
//			__HAL_TIM_SET_COMPARE(&htim2, TIM_CHANNEL_2, _compare);//12

/* USER CODE END 4 */

void HAL_TIM_PeriodElapsedCallback(TIM_HandleTypeDef *htim)
{
  if (htim->Instance == TIM7) {
    HAL_IncTick();
  }
}

void Error_Handler(void)
{
  __disable_irq();
  while (1)
  {
  }
}

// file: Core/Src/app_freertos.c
/* USER CODE BEGIN Header */
/**
  ******************************************************************************
  * File Name          : app_freertos.c
  * Description        : Code for freertos applications
  ******************************************************************************
  * @attention
  *
  * Copyright (c) 2023 STMicroelectronics.
  * All rights reserved.
  *
  * This software is licensed under terms that can be found in the LICENSE file
  * in the root directory of this software component.
  * If no LICENSE file comes with this software, it is provided AS-IS.
  *
  ******************************************************************************
  */
/* USER CODE END Header */

#include "FreeRTOS.h"
#include "task.h"
#include "main.h"
#include "cmsis_os.h"

osThreadId defaultTaskHandle;

void StartDefaultTask(void const * argument);

void MX_FREERTOS_Init(void); /* (MISRA C 2004 rule 8.1) */

void MX_FREERTOS_Init(void) {

  /* Create the thread(s) */
  /* definition and creation of defaultTask */
  osThreadDef(defaultTask, StartDefaultTask, osPriorityNormal, 0, 128);
  defaultTaskHandle = osThreadCreate(osThread(defaultTask), NULL);

}

void StartDefaultTask(void const * argument)
{
  /* USER CODE BEGIN StartDefaultTask */
  /* Infinite loop */
  for(;;)
  {
	System_Tasks_Init();
	osThreadTerminate(defaultTaskHandle);
  }
  /* USER CODE END StartDefaultTask */
}

/* USER CODE BEGIN Application */

//	HAL_TIM_PWM_Start(&htim1,TIM_CHANNEL_4);
//	HAL_TIM_PWM_Start(&htim3,TIM_CHANNEL_1);
//	HAL_TIM_PWM_Start(&htim4,TIM_CHANNEL_2);
//	HAL_TIM_PWM_Start(&htim4,TIM_CHANNEL_1);
//	HAL_TIM_PWM_Start(&htim2,TIM_CHANNEL_1);
//	HAL_TIM_PWM_Start(&htim2,TIM_CHANNEL_2);
//	HAL_TIM_PWM_Start(&htim2,TIM_CHANNEL_3);
//	HAL_TIM_PWM_Start(&htim15,TIM_CHANNEL_4);

//	__HAL_TIM_SET_COMPARE(&htim3, TIM_CHANNEL_4, _pulse);//1
//	__HAL_TIM_SET_COMPARE(&htim3, TIM_CHANNEL_3, _pulse);//2
//	__HAL_TIM_SET_COMPARE(&htim1, TIM_CHANNEL_3, _pulse);//3
//	__HAL_TIM_SET_COMPARE(&htim2, TIM_CHANNEL_1, _pulse);//4
//	__HAL_TIM_SET_COMPARE(&htim3, TIM_CHANNEL_2, _pulse);//5
//	__HAL_TIM_SET_COMPARE(&htim15, TIM_CHANNEL_2, _pulse);//6
//	__HAL_TIM_SET_COMPARE(&htim1, TIM_CHANNEL_1, _pulse);//7
//	__HAL_TIM_SET_COMPARE(&htim1, TIM_CHANNEL_2, _pulse);//8

//	__HAL_TIM_SET_COMPARE(&htim1,TIM_CHANNEL_4, _pulse);
//	__HAL_TIM_SET_COMPARE(&htim3, TIM_CHANNEL_1, _pulse);
//	__HAL_TIM_SET_COMPARE(&htim4, TIM_CHANNEL_2, _pulse);
//	__HAL_TIM_SET_COMPARE(&htim4, TIM_CHANNEL_1, _pulse);
//	__HAL_TIM_SET_COMPARE(&htim2, TIM_CHANNEL_1, _pulse);
//	__HAL_TIM_SET_COMPARE(&htim2, TIM_CHANNEL_2, _pulse);
//	__HAL_TIM_SET_COMPARE(&htim2, TIM_CHANNEL_3, _pulse);
//	__HAL_TIM_SET_COMPARE(&htim15, TIM_CHANNEL_4, _pulse);

//	__HAL_TIM_SET_COMPARE(&htim3, TIM_CHANNEL_4, 0);//1
//	__HAL_TIM_SET_COMPARE(&htim3, TIM_CHANNEL_3, 0);//2
//	__HAL_TIM_SET_COMPARE(&htim1, TIM_CHANNEL_3, 0);//3
//	__HAL_TIM_SET_COMPARE(&htim2, TIM_CHANNEL_1, 0);//4
//	__HAL_TIM_SET_COMPARE(&htim3, TIM_CHANNEL_2, 0);//5
//	__HAL_TIM_SET_COMPARE(&htim15, TIM_CHANNEL_2, 0);//6
//	__HAL_TIM_SET_COMPARE(&htim1, TIM_CHANNEL_1, 0);//7
//	__HAL_TIM_SET_COMPARE(&htim1, TIM_CHANNEL_2, 0);//8

/* USER CODE END Application */
